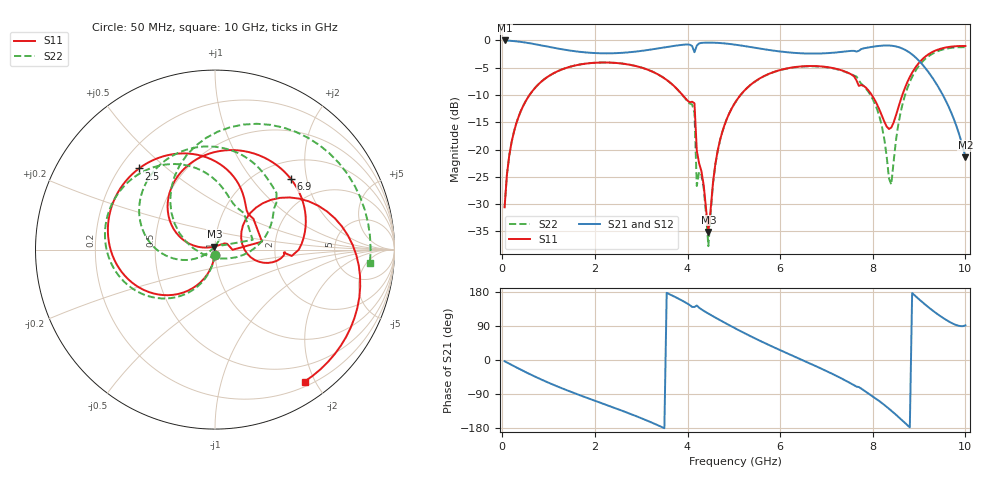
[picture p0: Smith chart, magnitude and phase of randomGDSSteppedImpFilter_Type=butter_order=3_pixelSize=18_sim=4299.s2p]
! freq	dB(S11)	phase(S11)	dB(S12)	phase(S12)
!  dB(S21)	phase(S21)	dB(S22)	phase(S22)
!S-par simulation data
#  GHz  S  DB  R 50
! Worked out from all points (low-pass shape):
!   200 points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, 50 MHz to 10 GHz, reference 50 ohm
!   highest |S21| = -0.01 dB at 50 MHz (marker M1); lowest = -21.4 dB at 10 GHz (marker M2)
!   |S21| within 3 dB of the highest: start of sweep to 8.91 GHz
!   lowest |S11| = -35.1 dB at 4.45 GHz (marker M3), VSWR 1.04, Z = 49.6 + j1.71 ohm
!   |S11| at or under -10 dB: start of sweep to 588.4 MHz; 3.891 GHz to 5.145 GHz (1.253 GHz wide, 27.7 % of centre); 7.978 GHz to 8.639 GHz (660.6 MHz wide, 7.95 % of centre)
!   |S22| runs from -37.7 to -1.2 dB; largest |S21 - S12| = 0
!   S11 on the Smith chart (normalised r, x): 50 MHz: 0.99, -0.06; 2.5 GHz: 0.28, +0.41; 6.9 GHz: 1.38, +1.62; 10 GHz: 0.27, -1.86
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0.05  -30.57 -93.5  -0.01 -3.3  -0.01 -3.3  -30.56 -93.2
0.2  -18.65 -103.9  -0.08 -13.0  -0.08 -13.0  -18.65 -102.9
0.5  -11.21 -123.5  -0.39 -31.7  -0.39 -31.7  -11.20 -121.0
1.75  -4.31 168.6  -2.16 -96.4  -2.16 -96.4  -4.30 177.7
2.5  -4.16 133.1  -2.32 -129.9  -2.32 -129.9  -4.15 146.5
3.4  -6.40 87.0  -1.42 -174.4  -1.42 -174.4  -6.40 105.4
4.1  -11.23 38.8  -1.03 140.1  -1.03 140.1  -11.73 51.3
4.15  -11.52 9.6  -2.16 139.9  -2.16 139.9  -13.27 14.5
4.2  -20.16 -0.6  -0.95 143.7  -0.95 143.7  -26.67 30.4
4.3  -23.96 33.3  -0.45 133.6  -0.45 133.6  -24.62 67.8
4.45  -35.11 101.7  -0.40 122.4  -0.40 122.4  -37.69 136.3
4.65  -20.24 170.6  -0.45 108.6  -0.45 108.6  -20.31 -153.6
5.05  -11.09 150.4  -0.80 82.2  -0.80 82.2  -11.11 -173.4
5.85  -5.82 102.0  -1.86 34.3  -1.86 34.3  -5.85 143.8
6.7  -4.69 53.9  -2.41 -12.3  -2.41 -12.3  -4.74 101.0
6.9  -4.77 42.7  -2.38 -23.5  -2.38 -23.5  -4.83 90.5
7.95  -9.64 -12.3  -1.22 -91.8  -1.22 -91.8  -10.00 19.4
8.2  -13.84 -12.0  -0.96 -113.9  -0.96 -113.9  -15.87 -10.5
8.35  -16.22 11.8  -0.94 -128.5  -0.94 -128.5  -25.29 -65.1
8.8  -6.69 38.5  -2.26 -177.8  -2.26 -177.8  -7.60 125.9
9.25  -2.29 1.9  -6.36 134.6  -6.36 134.6  -2.63 71.6
10  -1.02 -55.8  -21.40 91.4  -21.40 91.4  -1.25 -4.9
